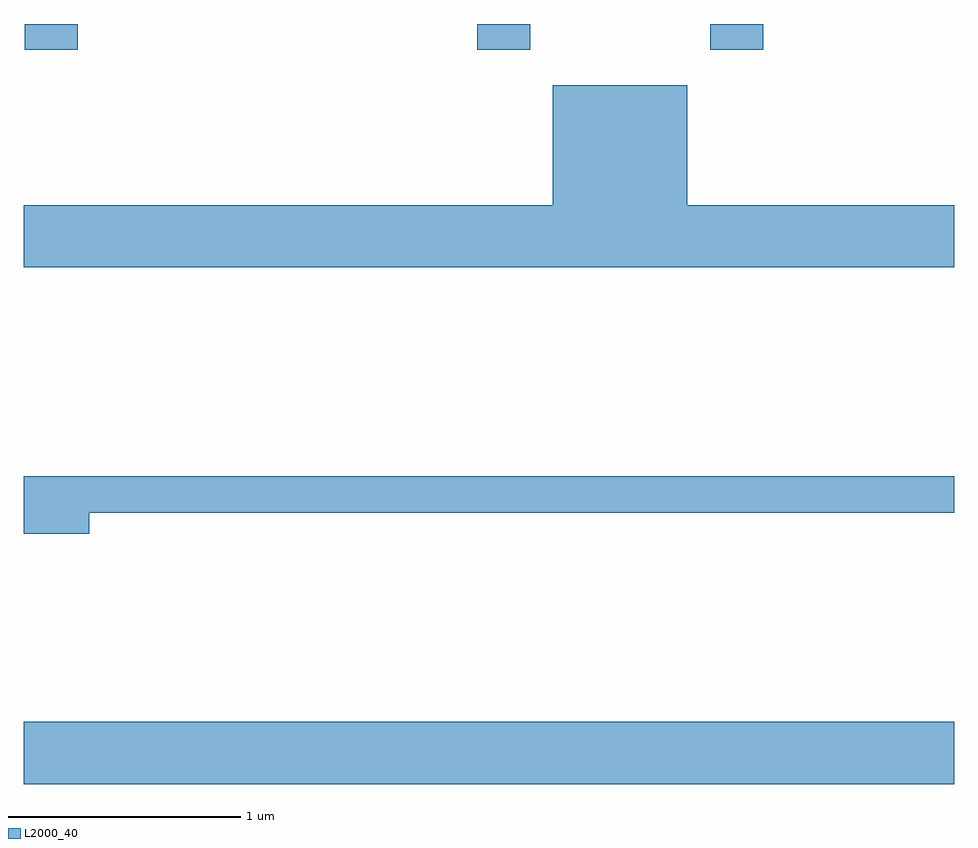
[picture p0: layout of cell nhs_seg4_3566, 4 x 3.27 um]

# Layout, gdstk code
import gdstk
lib = gdstk.Library(unit=1e-6, precision=1e-09)
def R(c, l, rs):  # rectangles x0, y0, x1, y1
    for r in rs: c.add(gdstk.rectangle(r[:2], r[2:], *l))
def P(c, l, *ps):  # polygons
    for p in ps: c.add(gdstk.Polygon(p, *l))
L2000_40 = (2000, 40)

nhs_seg4_3566 = lib.new_cell('nhs_seg4_3566')
R(nhs_seg4_3566, L2000_40, [(289.611,1314.716,293.611,1314.984), (289.616,1317.871,289.844,1317.982), (291.561,1317.871,291.789,1317.982), (292.561,1317.871,292.789,1317.982)])
P(nhs_seg4_3566, L2000_40, [(293.611,1317.204),(292.464,1317.204),(292.464,1317.719),(291.886,1317.719),(291.886,1317.204),(289.611,1317.204),(289.611,1316.936),(293.611,1316.936)],
  [(289.894,1315.881),(293.611,1315.881),(293.611,1316.039),(289.611,1316.039),(289.611,1315.791),(289.894,1315.791)])

lib.write_gds('nhs_seg4_3566.gds')
